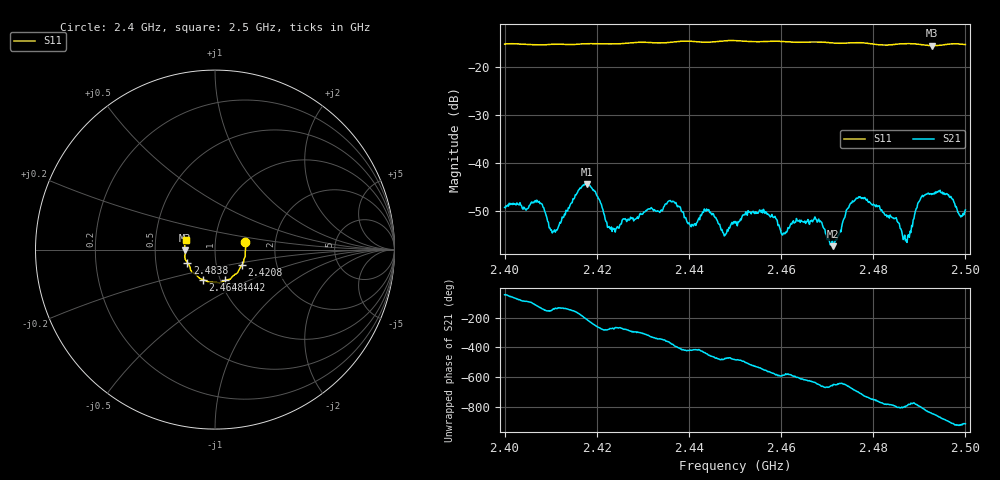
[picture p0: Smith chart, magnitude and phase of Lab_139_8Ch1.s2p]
# Hz S RI R
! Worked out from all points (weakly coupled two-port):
!   601 points, 2.4 GHz to 2.5 GHz, reference 50 ohm
!   highest |S21| = -44.48 dB at 2.4178 GHz (marker M1); lowest = -57.4 dB at 2.4713 GHz (marker M2)
!   lowest |S11| = -15.6 dB at 2.4928 GHz (marker M3), VSWR 1.40, Z = 35.8 - j0.355 ohm
!   |S11| at or under -10 dB: start of sweep to end of sweep
!   S12 and S22 are empty: the file has one direction only
!   S11 on the Smith chart (normalised r, x): 2.4 GHz: 1.40, +0.12; 2.4208 GHz: 1.33, -0.24; 2.4442 GHz: 1.05, -0.37; 2.4648 GHz: 0.83, -0.29; 2.4838 GHz: 0.73, -0.11; 2.5 GHz: 0.72, +0.08
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2.4e9  0.1675 0.0412  0.00237 -0.00245  0 0  0 0
2.4075e9  0.1689 -0.0135  -0.00248 -0.00307  0 0  0 0
2.410833e9  0.1689 -0.0324  -0.00158 -0.00121  0 0  0 0
2.416667e9  0.1589 -0.068  -0.00549 0.000538  0 0  0 0
2.417833e9  0.1567 -0.075  -0.00505 0.00318  0 0  0 0
2.420833e9  0.1504 -0.0869  0.000137 0.00378  0 0  0 0
2.4235e9  0.1415 -0.0996  1.78e-05 0.00208  0 0  0 0
2.433333e9  0.108 -0.1403  0.00297 0.000939  0 0  0 0
2.440667e9  0.0791 -0.1665  0.0012 -0.00192  0 0  0 0
2.444167e9  0.0567 -0.1713  3.54e-05 -0.00323  0 0  0 0
2.447667e9  0.0343 -0.1833  -0.000808 -0.00151  0 0  0 0
2.45e9  0.0246 -0.186  -0.00126 -0.00197  0 0  0 0
2.464833e9  -0.0684 -0.1668  -0.00063 0.00232  0 0  0 0
2.466667e9  -0.0799 -0.1628  -2.36e-05 0.00251  0 0  0 0
2.471333e9  -0.0984 -0.1473  0.000424 0.00127  0 0  0 0
2.476667e9  -0.1305 -0.1216  0.00394 0.00162  0 0  0 0
2.483333e9  -0.1506 -0.0761  0.00128 -0.00243  0 0  0 0
2.483833e9  -0.1533 -0.072  0.00114 -0.0025  0 0  0 0
2.487e9  -0.1666 -0.0524  0.000332 -0.00149  0 0  0 0
2.490167e9  -0.1674 -0.0342  0.00093 -0.00398  0 0  0 0
2.492833e9  -0.166 -0.00483  -0.00278 -0.00385  0 0  0 0
2.5e9  -0.1622 0.0529  -0.00314 0.000689  0 0  0 0
